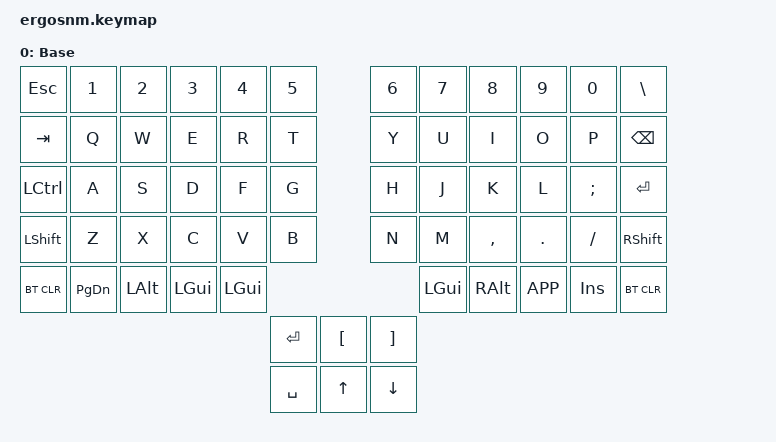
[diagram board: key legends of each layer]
#include <behaviors.dtsi>
#include <dt-bindings/zmk/keys.h>
#include <dt-bindings/zmk/bt.h>
#include <dt-bindings/zmk/mouse.h>
#include <dt-bindings/zmk/outputs.h>

/ {

  keymap {
    compatible = "zmk,keymap";

        Base {
            label = "Base";
            bindings = <
    &kp ESC     &kp N1      &kp N2     &kp N3       &kp N4   &kp N5                 &kp N6   &kp N7      &kp N8     &kp N9     &kp N0     &kp BSLH
    &kp TAB     &kp Q       &kp W      &kp E        &kp R    &kp T                  &kp Y    &kp U       &kp I      &kp O      &kp P      &kp BSPC
    &kp LCTRL   &kp A       &kp S      &kp D        &kp F    &kp G                  &kp H    &kp J       &kp K      &kp L      &kp SEMI   &kp ENTER
    &kp LSHFT   &kp Z       &kp X      &kp C        &kp V    &kp B                  &kp N    &kp M       &kp COMMA  &kp DOT    &kp FSLH   &kp RSHIFT
 &bt BT_CLR   &kp PG_DN   &kp LALT   &kp LGUI     &kp LGUI                                 &kp LGUI    &kp RALT   &kp K_APP  &kp INS    &bt BT_CLR
                                                             &kp ENTER &kp LBKT &kp RBKT
                                                             &kp SPACE &kp UP   &kp DOWN
            >;
            trackball-bindings = <&tmv_coarse>;
        };
    };
};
